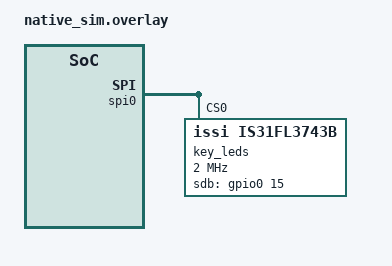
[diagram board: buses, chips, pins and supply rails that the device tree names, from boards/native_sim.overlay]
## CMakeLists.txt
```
# SPDX-License-Identifier: MIT

cmake_minimum_required(VERSION 3.20.0)
include(${CMAKE_CURRENT_SOURCE_DIR}/../common/defy_test.cmake)
find_package(Zephyr REQUIRED HINTS $ENV{ZEPHYR_BASE})
project(is31fl3743b_test)

target_sources(app PRIVATE src/main.c src/emul.c src/defy_leds.c src/fake_led_strip.c)
```

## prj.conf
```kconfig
# SPDX-License-Identifier: MIT

CONFIG_ZTEST=y
CONFIG_EMUL=y
CONFIG_SPI=y
CONFIG_GPIO=y
CONFIG_LED_STRIP=y
CONFIG_PM_DEVICE=y
# The overlay's dygma,defy-leds node would bring in the half's LED interface, which needs ZMK.
CONFIG_DEFY_HALF_LEDS=n
```

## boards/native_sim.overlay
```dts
/*
 * The Defy's LED drivers on native_sim: the per-key LED node on the emulated
 * SPI bus, and the joined LED strip over two fake strips, with the underglow
 * supply on the emulated GPIO port.
 *
 * SPDX-License-Identifier: MIT
 */

#include <zephyr/dt-bindings/led/led.h>
#include "../../../../boards/dygma/defy/defy-key-leds.h"

/ {
    fake_keys: fake-keys {
        compatible = "vnd,led-strip";
        chain-length = <3>;
    };

    fake_underglow: fake-underglow {
        compatible = "vnd,led-strip";
        chain-length = <4>;
    };

    leds: defy-leds {
        compatible = "dygma,defy-leds";
        chain-length = <7>;
        key-leds = <&fake_keys>;
        underglow = <&fake_underglow>;
        underglow-power-gpios = <&gpio0 14 GPIO_ACTIVE_HIGH>;
    };
};

&spi0 {
    key_leds: is31fl3743b@0 {
        compatible = "issi,is31fl3743b";
        reg = <0>;
        spi-max-frequency = <2000000>;
        sdb-gpios = <&gpio0 15 GPIO_ACTIVE_HIGH>;
        chain-length = <DEFY_KEY_LED_COUNT>;
        color-mapping = <LED_COLOR_ID_RED LED_COLOR_ID_GREEN LED_COLOR_ID_BLUE LED_COLOR_ID_WHITE>;
        pwm-registers = DEFY_KEY_LED_PWM_REGISTERS;
    };
};
```

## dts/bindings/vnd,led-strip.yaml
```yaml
# SPDX-License-Identifier: MIT

description: Fake LED strip that records the frames it is sent, for tests.

compatible: "vnd,led-strip"

properties:
  chain-length:
    type: int
    required: true
```

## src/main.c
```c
/*
 * IS31FL3743B driver against the emulated chip, with the Defy's LED layout.
 *
 * SPDX-License-Identifier: MIT
 */

#include <string.h>

#include <zephyr/device.h>
#include <zephyr/drivers/emul.h>
#include <zephyr/drivers/gpio.h>
#include <zephyr/drivers/gpio/gpio_emul.h>
#include <zephyr/drivers/led_strip.h>
#include <zephyr/pm/device.h>
#include <zephyr/ztest.h>

#include "emul.h"

#define LEDS     DT_NODELABEL(key_leds)
#define NUM_LEDS DT_PROP(LEDS, chain_length)

static const struct device *const leds = DEVICE_DT_GET(LEDS);
static const struct gpio_dt_spec sdb = GPIO_DT_SPEC_GET(LEDS, sdb_gpios);

/*
 * First PWM register of each LED, written out in full, apart from the slot
 * arithmetic behind defy-key-leds.h.
 */
static const uint8_t expected_first_register[NUM_LEDS] = {
    0x01, 0x13, 0x25, 0x37, 0x49, 0x5b, 0x6d, /* line 0 */
    0x05, 0x17, 0x29, 0x3b, 0x4d, 0x5f, 0x71, /* line 1 */
    0x09, 0x1b, 0x2d, 0x3f, 0x51, 0x63, 0x75, /* line 2 */
    0x7f, 0x91, 0x83, 0x95, 0x87, 0x99,       /* line 3 */
    0x0d, 0x1f, 0x31, 0x43, 0x55, 0x67, 0x79, 0x8b, /* line 4, thumbs */
};

static struct led_rgb pixels[NUM_LEDS];
static int sdb_at_boot;
static unsigned int transfers_at_boot;

static struct is31fl3743b_emul_data *chip(void) { return EMUL_DT_GET(LEDS)->data; }

static int sdb_level(void) { return gpio_emul_output_get(sdb.port, sdb.pin); }

static void *suite_setup(void) {
    sdb_at_boot = sdb_level();
    transfers_at_boot = chip()->transfers;
    return NULL;
}

/* Each test starts dark, with a blank register model. */
static void before(void *fixture) {
    ARG_UNUSED(fixture);
    memset(pixels, 0, sizeof(pixels));
    zassert_ok(led_strip_update_rgb(leds, pixels, NUM_LEDS));
    memset(chip(), 0, sizeof(*chip()));
}

ZTEST(is31fl3743b, test_boot_leaves_chip_shut_down) {
    zassert_equal(sdb_at_boot, 0, "SDB high at boot");
    zassert_equal(transfers_at_boot, 0, "SPI traffic at boot");
}

ZTEST(is31fl3743b, test_power_up_writes_stock_configuration) {
    pixels[0] = (struct led_rgb){.r = 0x10, .g = 0x20, .b = 0x30};
    zassert_ok(led_strip_update_rgb(leds, pixels, NUM_LEDS));

    zassert_equal(sdb_level(), 1, "chip not powered up");
    zassert_equal(chip()->pages[2][0x02], 0xb3, "pull register");
    zassert_equal(chip()->pages[2][0x01], 0xff, "global current");
    zassert_equal(chip()->pages[2][0x00], 0x29, "configuration");
    for (int reg = 0x01; reg <= 0xc6; reg++) {
        zassert_equal(chip()->pages[1][reg], 0xff, "scaling register 0x%02x", reg);
    }
    zassert_equal(chip()->pages[1][0xc7], 0, "scaling write ran past 0xc6");
}

ZTEST(is31fl3743b, test_pixels_land_on_stock_registers) {
    for (int i = 0; i < NUM_LEDS; i++) {
        pixels[i] = (struct led_rgb){.r = 0x40 + i, .g = 0x80 + i, .b = 0};
    }
    zassert_ok(led_strip_update_rgb(leds, pixels, NUM_LEDS));

    const uint8_t *pwm = chip()->pages[0];
    int lit = 0;

    for (int i = 0; i < NUM_LEDS; i++) {
        uint8_t reg = expected_first_register[i];

        zassert_equal(pwm[reg], 0x40 + i, "LED %d red", i);
        zassert_equal(pwm[reg + 1], 0x80 + i, "LED %d green", i);
        zassert_equal(pwm[reg + 2], 0, "LED %d blue", i);
        zassert_equal(pwm[reg + 3], 0, "LED %d white", i);
    }
    for (int reg = 0x01; reg <= 0xc6; reg++) {
        lit += pwm[reg] != 0;
    }
    zassert_equal(lit, NUM_LEDS * 2, "dots lit outside the LED map");
}

/* The part common to red, green and blue lights the white LED instead. */
ZTEST(is31fl3743b, test_white_takes_the_common_part) {
    pixels[0] = (struct led_rgb){.r = 0x18, .g = 0x18, .b = 0x18};
    pixels[1] = (struct led_rgb){.r = 0x30, .g = 0x20, .b = 0x10};
    pixels[2] = (struct led_rgb){.r = 0x05, .g = 0x40, .b = 0x80};
    pixels[3] = (struct led_rgb){.g = 0x18, .b = 0x18};
    zassert_ok(led_strip_update_rgb(leds, pixels, NUM_LEDS));

    static const uint8_t expected[][4] = {
        {0x00, 0x00, 0x00, 0x18},
        {0x20, 0x10, 0x00, 0x10},
        {0x00, 0x3b, 0x7b, 0x05},
        {0x00, 0x18, 0x18, 0x00},
    };
    const uint8_t *pwm = chip()->pages[0];

    for (int i = 0; i < ARRAY_SIZE(expected); i++) {
        zassert_mem_equal(&pwm[expected_first_register[i]], expected[i], 4, "LED %d", i);
    }
}

ZTEST(is31fl3743b, test_dark_frame_shuts_chip_down) {
    pixels[5].g = 1;
    zassert_ok(led_strip_update_rgb(leds, pixels, NUM_LEDS));
    zassert_equal(sdb_level(), 1);

    unsigned int transfers = chip()->transfers;

    pixels[5].g = 0;
    zassert_ok(led_strip_update_rgb(leds, pixels, NUM_LEDS));
    zassert_equal(sdb_level(), 0, "chip left powered while dark");
    zassert_equal(chip()->transfers, transfers, "SPI traffic while dark");
}

ZTEST(is31fl3743b, test_reconfigures_after_shutdown) {
    pixels[0].r = 1;
    zassert_ok(led_strip_update_rgb(leds, pixels, NUM_LEDS));
    pixels[0].r = 0;
    zassert_ok(led_strip_update_rgb(leds, pixels, NUM_LEDS));
    memset(chip(), 0, sizeof(*chip()));

    pixels[0].r = 2;
    zassert_ok(led_strip_update_rgb(leds, pixels, NUM_LEDS));
    zassert_equal(chip()->pages[2][0x00], 0x29, "configuration not sent again");
    zassert_equal(chip()->pages[0][0x01], 2);
}

ZTEST(is31fl3743b, test_suspend_shuts_down_and_resume_restores) {
    pixels[3].b = 7;
    zassert_ok(led_strip_update_rgb(leds, pixels, NUM_LEDS));
    zassert_ok(pm_device_action_run(leds, PM_DEVICE_ACTION_SUSPEND));
    zassert_equal(sdb_level(), 0, "chip left powered while suspended");
    memset(chip(), 0, sizeof(*chip()));

    /* Updates while suspended are kept but not sent. */
    pixels[3].b = 9;
    zassert_ok(led_strip_update_rgb(leds, pixels, NUM_LEDS));
    zassert_equal(chip()->transfers, 0, "SPI traffic while suspended");
    zassert_equal(sdb_level(), 0);

    zassert_ok(pm_device_action_run(leds, PM_DEVICE_ACTION_RESUME));
    zassert_equal(sdb_level(), 1, "chip not powered up on resume");
    zassert_equal(chip()->pages[2][0x00], 0x29, "configuration not sent on resume");
    zassert_equal(chip()->pages[0][expected_first_register[3] + 2], 9, "frame not restored");
}

ZTEST_SUITE(is31fl3743b, NULL, suite_setup, before, NULL, NULL);
```

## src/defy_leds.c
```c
/*
 * The Defy's joined LED strip over two fake strips: per-key LEDs, then the
 * underglow, whose supply is an emulated GPIO.
 *
 * SPDX-License-Identifier: MIT
 */

#include <string.h>

#include <zephyr/device.h>
#include <zephyr/drivers/gpio.h>
#include <zephyr/drivers/gpio/gpio_emul.h>
#include <zephyr/drivers/led_strip.h>
#include <zephyr/pm/device.h>
#include <zephyr/ztest.h>

#include "fake_led_strip.h"

#define LEDS           DT_NODELABEL(leds)
#define NUM_LEDS       DT_PROP(LEDS, chain_length)
#define NUM_KEYS       DT_PROP(DT_NODELABEL(fake_keys), chain_length)
#define NUM_UNDERGLOW  DT_PROP(DT_NODELABEL(fake_underglow), chain_length)
#define FIRST_UNDERGLOW NUM_KEYS

static const struct device *const leds = DEVICE_DT_GET(LEDS);
static const struct device *const keys = DEVICE_DT_GET(DT_NODELABEL(fake_keys));
static const struct device *const underglow = DEVICE_DT_GET(DT_NODELABEL(fake_underglow));
static const struct gpio_dt_spec power = GPIO_DT_SPEC_GET(LEDS, underglow_power_gpios);

static struct led_rgb pixels[NUM_LEDS];
static int power_at_boot;
static unsigned int updates_at_boot;
static int power_when_sent;

static struct fake_led_strip_data *fake(const struct device *dev) { return dev->data; }

static int power_level(void) { return gpio_emul_output_get(power.port, power.pin); }

static void record_power(const struct device *dev) {
    ARG_UNUSED(dev);
    power_when_sent = power_level();
}

static void reset_fake(const struct device *dev) {
    struct fake_led_strip_data *data = fake(dev);

    memset(data->frame, 0, sizeof(data->frame));
    data->count = 0;
    data->updates = 0;
}

static void *suite_setup(void) {
    power_at_boot = power_level();
    updates_at_boot = fake(keys)->updates + fake(underglow)->updates;
    fake(underglow)->on_update = record_power;
    return NULL;
}

/* Each test starts resumed and dark, with fresh fakes. */
static void before(void *fixture) {
    ARG_UNUSED(fixture);
    (void)pm_device_action_run(leds, PM_DEVICE_ACTION_RESUME);
    memset(pixels, 0, sizeof(pixels));
    zassert_ok(led_strip_update_rgb(leds, pixels, NUM_LEDS));
    reset_fake(keys);
    reset_fake(underglow);
    power_when_sent = -1;
}

ZTEST(defy_leds, test_boot_leaves_underglow_unpowered) {
    zassert_equal(power_at_boot, 0, "underglow powered at boot");
    zassert_equal(updates_at_boot, 0, "frames sent at boot");
}

ZTEST(defy_leds, test_pixels_split_between_parts) {
    for (int i = 0; i < NUM_LEDS; i++) {
        pixels[i] = (struct led_rgb){.r = i + 1, .g = 0x40 + i, .b = 0x80 + i};
    }
    zassert_ok(led_strip_update_rgb(leds, pixels, NUM_LEDS));

    zassert_equal(fake(keys)->count, NUM_KEYS);
    zassert_mem_equal(fake(keys)->frame, pixels, NUM_KEYS * sizeof(pixels[0]));
    zassert_equal(fake(underglow)->count, NUM_UNDERGLOW);
    zassert_mem_equal(fake(underglow)->frame, &pixels[FIRST_UNDERGLOW],
                      NUM_UNDERGLOW * sizeof(pixels[0]));
}

ZTEST(defy_leds, test_underglow_powered_only_while_lit) {
    /* Only a key lit: the underglow stays off and is sent nothing. */
    pixels[0].r = 1;
    zassert_ok(led_strip_update_rgb(leds, pixels, NUM_LEDS));
    zassert_equal(power_level(), 0, "underglow powered for a key LED");
    zassert_equal(fake(underglow)->updates, 0, "frame sent to an unpowered underglow");
    zassert_equal(fake(keys)->updates, 1);

    /* An underglow LED lit: power first, then the frame. */
    pixels[FIRST_UNDERGLOW + 2].b = 1;
    zassert_ok(led_strip_update_rgb(leds, pixels, NUM_LEDS));
    zassert_equal(power_level(), 1, "underglow not powered while lit");
    zassert_equal(fake(underglow)->updates, 1);
    zassert_equal(power_when_sent, 1, "frame sent before the supply was on");

    /* Dark again: power off, no frame. */
    pixels[FIRST_UNDERGLOW + 2].b = 0;
    zassert_ok(led_strip_update_rgb(leds, pixels, NUM_LEDS));
    zassert_equal(power_level(), 0, "underglow left powered while dark");
    zassert_equal(fake(underglow)->updates, 1, "frame sent to an unpowered underglow");
}

ZTEST(defy_leds, test_suspend_cuts_underglow_power) {
    pixels[FIRST_UNDERGLOW].g = 5;
    zassert_ok(led_strip_update_rgb(leds, pixels, NUM_LEDS));
    zassert_equal(power_level(), 1);

    zassert_ok(pm_device_action_run(leds, PM_DEVICE_ACTION_SUSPEND));
    zassert_equal(power_level(), 0, "underglow left powered while suspended");

    /* Lit frames while suspended reach the per-key LEDs, not the underglow. */
    pixels[0].r = 3;
    zassert_ok(led_strip_update_rgb(leds, pixels, NUM_LEDS));
    zassert_equal(power_level(), 0, "underglow powered while suspended");
    zassert_equal(fake(underglow)->updates, 1, "frame sent while suspended");
    zassert_equal(fake(keys)->updates, 2);

    /* After resume, the next lit frame powers the underglow up again. */
    zassert_ok(pm_device_action_run(leds, PM_DEVICE_ACTION_RESUME));
    zassert_equal(power_level(), 0);
    zassert_ok(led_strip_update_rgb(leds, pixels, NUM_LEDS));
    zassert_equal(power_level(), 1, "underglow not powered after resume");
    zassert_equal(fake(underglow)->updates, 2);
    zassert_equal(fake(underglow)->frame[0].g, 5);
}

ZTEST(defy_leds, test_short_frame_reaches_keys_only) {
    pixels[0].r = 1;
    pixels[FIRST_UNDERGLOW].r = 1;
    zassert_ok(led_strip_update_rgb(leds, pixels, 2));
    zassert_equal(fake(keys)->count, 2);
    zassert_equal(fake(underglow)->updates, 0);
    zassert_equal(power_level(), 0);
}

ZTEST_SUITE(defy_leds, NULL, suite_setup, before, NULL, NULL);
```

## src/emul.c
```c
/*
 * Emulated IS31FL3743B on the SPI emulator. It accepts write frames only:
 * command byte 0101 0ppp, register address, then data with auto-increment.
 *
 * SPDX-License-Identifier: MIT
 */

#define DT_DRV_COMPAT issi_is31fl3743b

#include <errno.h>

#include <zephyr/device.h>
#include <zephyr/drivers/emul.h>
#include <zephyr/drivers/spi.h>
#include <zephyr/drivers/spi_emul.h>

#include "emul.h"

static int is31fl3743b_emul_io(const struct emul *target, const struct spi_config *config,
                               const struct spi_buf_set *tx_bufs,
                               const struct spi_buf_set *rx_bufs) {
    struct is31fl3743b_emul_data *data = target->data;
    uint8_t page = 0;
    uint8_t reg = 0;
    size_t pos = 0;

    ARG_UNUSED(config);
    ARG_UNUSED(rx_bufs);

    if (tx_bufs == NULL) {
        return -EIO;
    }

    for (size_t i = 0; i < tx_bufs->count; i++) {
        const uint8_t *bytes = tx_bufs->buffers[i].buf;

        for (size_t j = 0; j < tx_bufs->buffers[i].len; j++, pos++) {
            if (pos == 0) {
                if ((bytes[j] & 0xf8) != 0x50 || (bytes[j] & 0x07) > 2) {
                    return -EIO;
                }
                page = bytes[j] & 0x07;
            } else if (pos == 1) {
                reg = bytes[j];
            } else {
                data->pages[page][reg++] = bytes[j];
            }
        }
    }

    data->transfers++;
    return 0;
}

static const struct spi_emul_api is31fl3743b_emul_api = {
    .io = is31fl3743b_emul_io,
};

static int is31fl3743b_emul_init(const struct emul *target, const struct device *parent) {
    ARG_UNUSED(target);
    ARG_UNUSED(parent);
    return 0;
}

#define IS31FL3743B_EMUL(n)                                                                        \
    static struct is31fl3743b_emul_data is31fl3743b_emul_data_##n;                                \
    EMUL_DT_INST_DEFINE(n, is31fl3743b_emul_init, &is31fl3743b_emul_data_##n, NULL,               \
                        &is31fl3743b_emul_api, NULL)

DT_INST_FOREACH_STATUS_OKAY(IS31FL3743B_EMUL)
```

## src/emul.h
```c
/*
 * SPDX-License-Identifier: MIT
 */

#pragma once

#include <stdint.h>

/* Register model of an IS31FL3743B: pages 0 (PWM), 1 (scaling), 2 (function). */
struct is31fl3743b_emul_data {
    uint8_t pages[3][256];
    unsigned int transfers;
};
```

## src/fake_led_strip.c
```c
/*
 * Fake LED strip that records the frames it is sent.
 *
 * SPDX-License-Identifier: MIT
 */

#define DT_DRV_COMPAT vnd_led_strip

#include <string.h>

#include <zephyr/device.h>
#include <zephyr/drivers/led_strip.h>

#include "fake_led_strip.h"

struct fake_led_strip_config {
    size_t length;
};

static int fake_led_strip_update_rgb(const struct device *dev, struct led_rgb *pixels,
                                     size_t num_pixels) {
    struct fake_led_strip_data *data = dev->data;

    memcpy(data->frame, pixels, num_pixels * sizeof(*pixels));
    data->count = num_pixels;
    data->updates++;
    if (data->on_update != NULL) {
        data->on_update(dev);
    }

    return 0;
}

static size_t fake_led_strip_length(const struct device *dev) {
    const struct fake_led_strip_config *config = dev->config;

    return config->length;
}

static DEVICE_API(led_strip, fake_led_strip_api) = {
    .update_rgb = fake_led_strip_update_rgb,
    .length = fake_led_strip_length,
};

#define FAKE_LED_STRIP_INIT(inst)                                                                  \
    BUILD_ASSERT(DT_INST_PROP(inst, chain_length) <= FAKE_LED_STRIP_MAX_PIXELS);                   \
                                                                                                   \
    static const struct fake_led_strip_config fake_led_strip_config_##inst = {                     \
        .length = DT_INST_PROP(inst, chain_length),                                                \
    };                                                                                             \
                                                                                                   \
    static struct fake_led_strip_data fake_led_strip_data_##inst;                                  \
                                                                                                   \
    DEVICE_DT_INST_DEFINE(inst, NULL, NULL, &fake_led_strip_data_##inst,                           \
                          &fake_led_strip_config_##inst, POST_KERNEL,                              \
                          CONFIG_LED_STRIP_INIT_PRIORITY, &fake_led_strip_api);

DT_INST_FOREACH_STATUS_OKAY(FAKE_LED_STRIP_INIT)
```

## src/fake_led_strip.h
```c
/*
 * SPDX-License-Identifier: MIT
 */

#pragma once

#include <zephyr/device.h>
#include <zephyr/drivers/led_strip.h>

#define FAKE_LED_STRIP_MAX_PIXELS 8

struct fake_led_strip_data {
    struct led_rgb frame[FAKE_LED_STRIP_MAX_PIXELS];
    size_t count;
    unsigned int updates;
    /* Called on each update, after recording the frame. */
    void (*on_update)(const struct device *dev);
};
```
